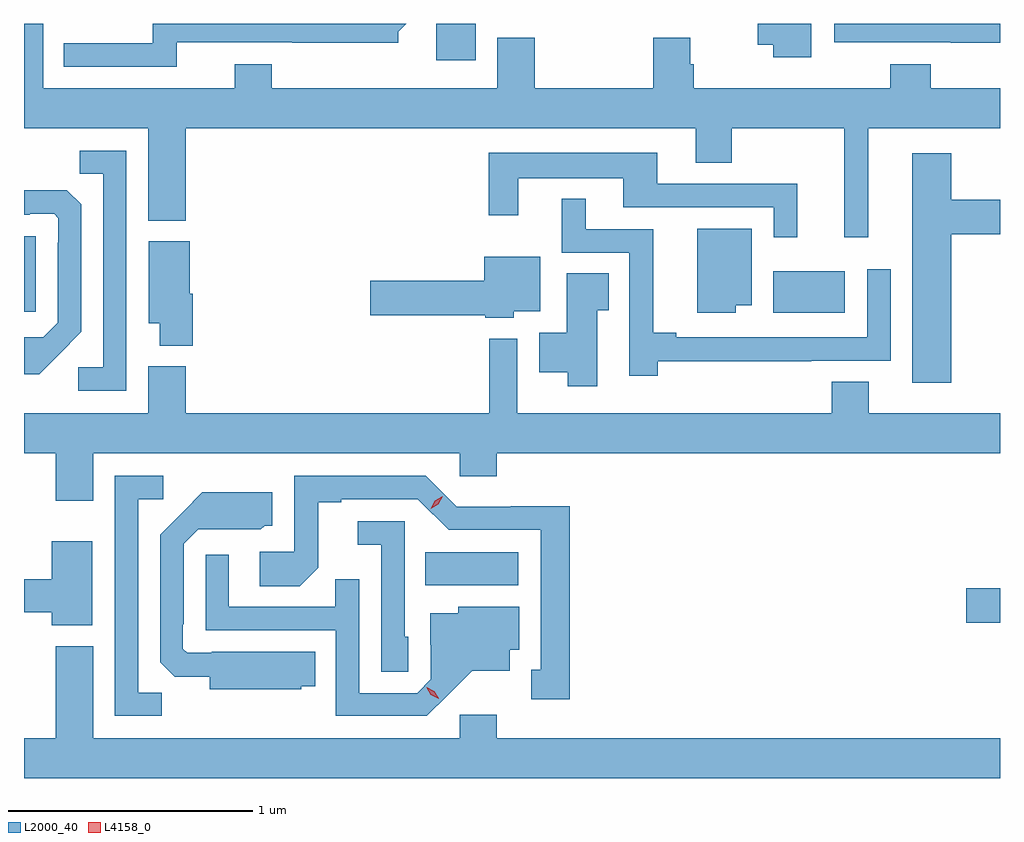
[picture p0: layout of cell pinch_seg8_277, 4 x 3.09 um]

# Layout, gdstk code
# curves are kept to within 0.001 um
import gdstk
lib = gdstk.Library(unit=1e-6, precision=1e-09)
def R(c, l, rs):  # rectangles x0, y0, x1, y1
    for r in rs: c.add(gdstk.rectangle(r[:2], r[2:], *l))
def P(c, l, *ps):  # polygons
    for p in ps: c.add(gdstk.Polygon(p, *l))
L2000_40 = (2000, 40)
L4158_0 = (4158, 0)

pinch_seg8_277 = lib.new_cell('pinch_seg8_277')
R(pinch_seg8_277, L2000_40, [(534.3,1135.786,534.439,1135.928), (532.084,1135.94,532.465,1136.074), (533.51,1137.056,533.803,1137.226), (530.439,1137.06,530.487,1137.369), (532.129,1138.092,532.29,1138.241)])
P(pinch_seg8_277, L2000_40, [(533.9,1137.812),(534.439,1137.812),(534.439,1137.976),(534.155,1137.976),(534.155,1138.075),(533.99,1138.075),(533.99,1137.976),(533.183,1137.976),(533.183,1138.074),(533.17,1138.074),(533.17,1138.184),(533.018,1138.184),(533.018,1137.976),(532.532,1137.976),(532.532,1138.184),(532.379,1138.184),(532.379,1137.976),(531.455,1137.976),(531.455,1138.075),(531.302,1138.075),(531.302,1137.976),(530.517,1137.976),(530.517,1138.241),(530.439,1138.241),(530.439,1137.812),(530.948,1137.812),(530.948,1137.434),(531.101,1137.434),(531.101,1137.812),(533.192,1137.812),(533.192,1137.67),(533.34,1137.67),(533.34,1137.812),(533.801,1137.812),(533.801,1137.366),(533.9,1137.366)],
  [(531.066,1138.164),(531.538,1138.164),(531.538,1138.163),(531.972,1138.163),(531.972,1138.207),(532.006,1138.241),(530.966,1138.241),(530.966,1138.161),(530.602,1138.161),(530.602,1138.065),(531.066,1138.065)],
  [(533.665,1138.241),(533.446,1138.241),(533.446,1138.155),(533.509,1138.155),(533.509,1138.104),(533.665,1138.104)],
  [(534.439,1138.241),(533.76,1138.241),(533.76,1138.164),(534.238,1138.164),(534.238,1138.163),(534.439,1138.163)],
  [(530.859,1137.72),(530.668,1137.72),(530.668,1137.625),(530.763,1137.625),(530.763,1136.832),(530.661,1136.832),(530.661,1136.736),(530.859,1136.736)],
  [(533.609,1137.585),(533.035,1137.585),(533.035,1137.712),(532.344,1137.712),(532.344,1137.456),(532.465,1137.456),(532.465,1137.608),(532.895,1137.608),(532.895,1137.489),(533.511,1137.489),(533.511,1137.366),(533.609,1137.366)],
  [(534.239,1137.377),(534.439,1137.377),(534.439,1137.519),(534.239,1137.519),(534.239,1137.709),(534.08,1137.709),(534.08,1136.769),(534.239,1136.769)],
  [(530.581,1136.885),(530.673,1136.978),(530.673,1137.5),(530.614,1137.559),(530.439,1137.559),(530.439,1137.458),(530.462,1137.458),(530.462,1137.462),(530.562,1137.462),(530.58,1137.444),(530.58,1137.344),(530.577,1137.344),(530.577,1137.015),(530.517,1136.955),(530.439,1136.955),(530.439,1136.804),(530.501,1136.804)],
  [(533.036,1136.858),(533.666,1136.858),(533.666,1136.859),(533.991,1136.859),(533.991,1137.235),(533.895,1137.235),(533.895,1136.955),(533.113,1136.955),(533.113,1136.975),(533.018,1136.975),(533.018,1137.399),(532.741,1137.399),(532.741,1137.523),(532.643,1137.523),(532.643,1137.303),(532.92,1137.303),(532.92,1136.799),(533.036,1136.799)],
  [(533.356,1137.086),(533.422,1137.086),(533.422,1137.4),(533.198,1137.4),(533.198,1137.056),(533.356,1137.056)],
  [(531.131,1137.135),(531.118,1137.135),(531.118,1137.349),(530.951,1137.349),(530.951,1137.014),(530.996,1137.014),(530.996,1136.921),(531.131,1136.921)],
  [(532.446,1137.062),(532.555,1137.062),(532.555,1137.286),(532.325,1137.286),(532.325,1137.188),(531.858,1137.188),(531.858,1137.046),(532.329,1137.046),(532.329,1137.035),(532.446,1137.035)],
  [(532.789,1137.067),(532.835,1137.067),(532.835,1137.218),(532.664,1137.218),(532.664,1136.974),(532.55,1136.974),(532.55,1136.813),(532.667,1136.813),(532.667,1136.754),(532.789,1136.754)],
  [(530.722,1136.48),(532.224,1136.48),(532.224,1136.387),(532.376,1136.387),(532.376,1136.48),(534.439,1136.48),(534.439,1136.644),(533.902,1136.644),(533.902,1136.774),(533.75,1136.774),(533.75,1136.644),(532.461,1136.644),(532.461,1136.95),(532.345,1136.95),(532.345,1136.644),(531.101,1136.644),(531.101,1136.836),(530.948,1136.836),(530.948,1136.644),(530.439,1136.644),(530.439,1136.48),(530.57,1136.48),(530.57,1136.286),(530.722,1136.286)],
  [(531.003,1135.499),(530.907,1135.499),(530.907,1136.292),(531.01,1136.292),(531.01,1136.388),(530.811,1136.388),(530.811,1135.404),(531.003,1135.404)],
  [(532.675,1136.264),(532.434,1136.264),(532.434,1136.262),(532.212,1136.262),(532.086,1136.388),(531.546,1136.388),(531.546,1136.076),(531.405,1136.076),(531.405,1135.936),(531.569,1135.936),(531.645,1136.012),(531.645,1136.28),(531.739,1136.28),(531.739,1136.292),(532.053,1136.292),(532.179,1136.166),(532.556,1136.166),(532.556,1135.593),(532.517,1135.593),(532.517,1135.473),(532.675,1135.473)],
  [(531.576,1135.526),(531.632,1135.526),(531.632,1135.666),(531.208,1135.666),(531.208,1135.662),(531.108,1135.662),(531.09,1135.68),(531.09,1135.78),(531.093,1135.78),(531.093,1136.109),(531.153,1136.169),(531.41,1136.168),(531.426,1136.184),(531.457,1136.184),(531.457,1136.32),(531.169,1136.32),(530.997,1136.146),(530.997,1135.624),(531.056,1135.565),(531.2,1135.565),(531.2,1135.514),(531.576,1135.514)],
  [(532.014,1135.728),(531.999,1135.728),(531.999,1136.202),(531.807,1136.202),(531.807,1136.105),(531.903,1136.105),(531.903,1135.585),(532.014,1135.585)],
  [(530.719,1136.119),(530.552,1136.119),(530.552,1135.964),(530.439,1135.964),(530.439,1135.828),(530.552,1135.828),(530.552,1135.775),(530.719,1135.775)],
  [(532.174,1135.487),(532.277,1135.589),(532.429,1135.589),(532.429,1135.676),(532.468,1135.676),(532.468,1135.852),(532.218,1135.852),(532.218,1135.825),(532.103,1135.825),(532.103,1135.696),(532.107,1135.696),(532.107,1135.554),(532.05,1135.497),(531.813,1135.497),(531.813,1135.964),(531.715,1135.964),(531.715,1135.851),(531.279,1135.851),(531.279,1136.065),(531.183,1136.065),(531.183,1135.755),(531.717,1135.755),(531.717,1135.404),(532.09,1135.404)],
  [(534.439,1135.312),(532.376,1135.312),(532.376,1135.408),(532.224,1135.408),(532.224,1135.312),(530.722,1135.312),(530.722,1135.69),(530.57,1135.69),(530.57,1135.312),(530.439,1135.312),(530.439,1135.148),(534.439,1135.148)])
P(pinch_seg8_277, L4158_0, [(532.105,1136.253),(532.105,1136.253),(532.123,1136.286),(532.155,1136.304),(532.155,1136.304),(532.155,1136.304),(532.137,1136.272),(532.106,1136.253)],
  [(532.138,1135.475),(532.107,1135.491),(532.09,1135.52),(532.09,1135.521),(532.09,1135.521),(532.121,1135.505),(532.138,1135.476),(532.138,1135.475)])

lib.write_gds('pinch_seg8_277.gds')
